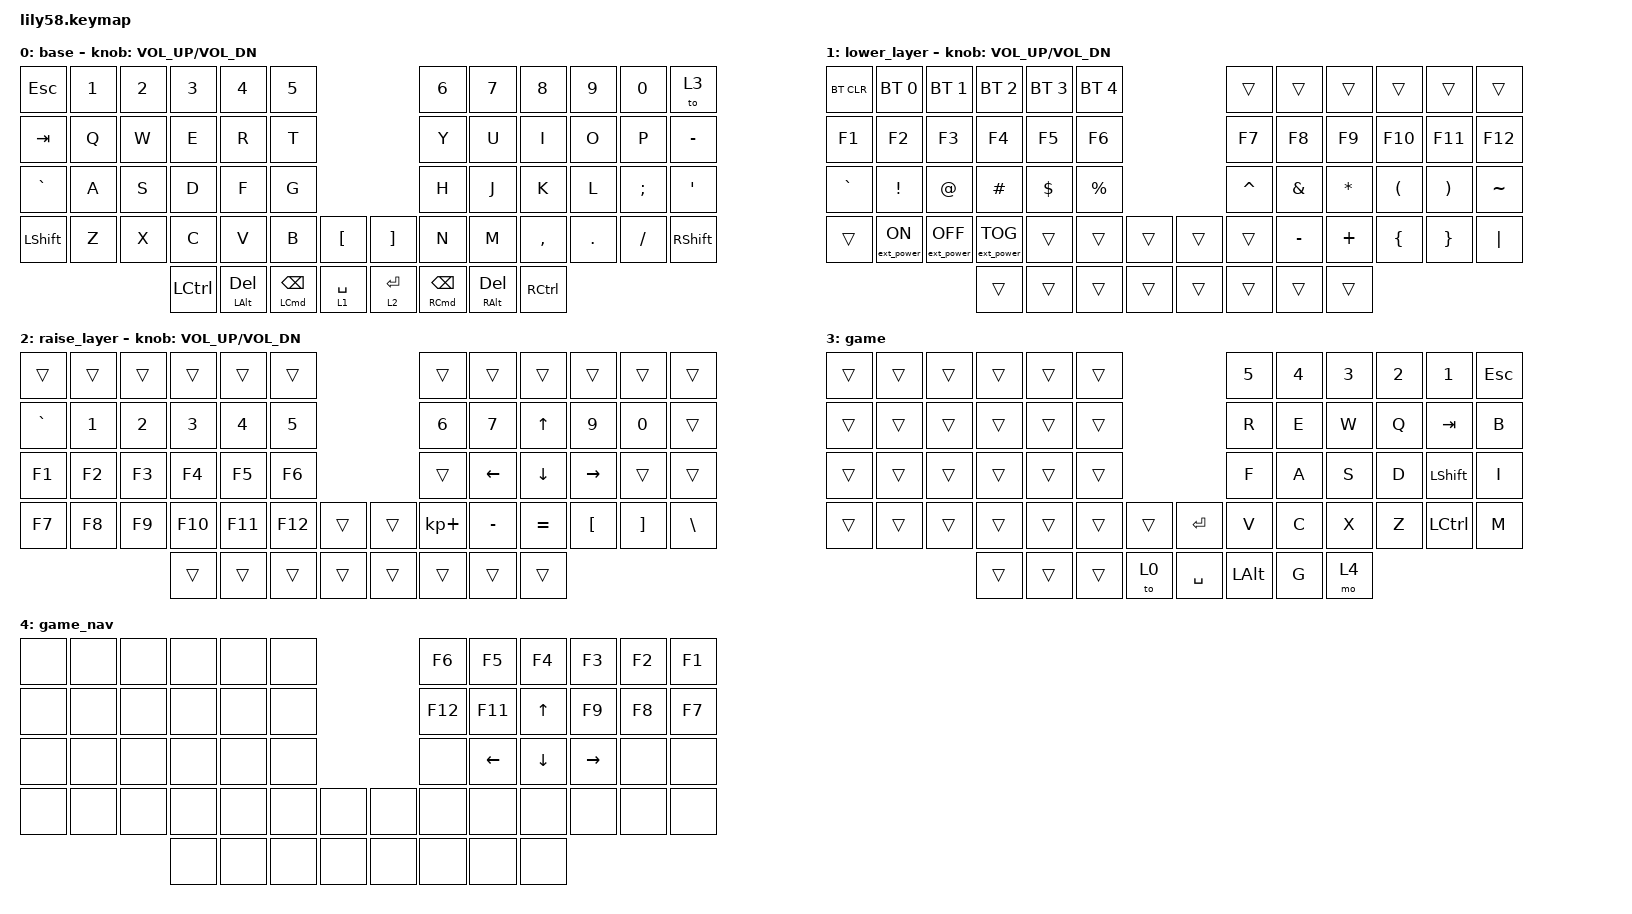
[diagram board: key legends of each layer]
/*
 * Copyright (c) 2020 The ZMK Contributors
 *
 * SPDX-License-Identifier: MIT
 */

#include <behaviors.dtsi>
#include <dt-bindings/zmk/bt.h>
#include <dt-bindings/zmk/ext_power.h>
#include <dt-bindings/zmk/keys.h>

/ {
    combos {
        compatible = "zmk,combos";

        combo_esc {
            timeout-ms = <50>;
            key-positions = <0 1>;
            bindings = <&kp ESC>;
        };
    };

    behaviors {
        ss_hs_modmorph: ss_hs_modmorph {
            compatible = "zmk,behavior-mod-morph";
            label = "SS_HS_MODMORPH";
            bindings = <&kp M>, <&kp RIGHT_BRACKET>;

            #binding-cells = <0>;
            mods = <(MOD_LSFT|MOD_RSFT)>;
        };

        kh_hs_tapdance: kh_hs_tapdance {
            compatible = "zmk,behavior-tap-dance";
            label = "KH_HS_TAPDANCE";
            #binding-cells = <0>;
            tapping-term-ms = <200>;
            bindings = <&kp LEFT_BRACKET>, <&kp RIGHT_BRACKET>;
        };

        hrm: hrm {
            compatible = "zmk,behavior-hold-tap";
            #binding-cells = <2>;
            flavor = "tap-preferred";
            tapping-term-ms = <200>;
            quick-tap-ms = <200>;
            require-prior-idle-ms = <125>;
            bindings = <&kp>, <&kp>;
        };
    };

    keymap {
        compatible = "zmk,keymap";

        base {
            // ------------------------------------------------------------------------------------------------------------
            // |  ESC  |  1  |  2  |  3   |  4   |  5   |                   |  6   |  7    |  8    |  9   |   0   |   `   |
            // |  TAB  |  Q  |  W  |  E   |  R   |  T   |                   |  Y   |  U    |  I    |  O   |   P   |   -   |
            // |  CTRL |  A  |  S  |  D   |  F   |  G   |                   |  H   |  J    |  K    |  L   |   ;   |   '   |
            // | SHIFT |  Z  |  X  |  C   |  V   |  B   |   "["  |  |  "]"  |  N   |  M    |  ,    |  .   |   /   | SHIFT |
            //                     | ALT  | GUI  | LOWER|  SPACE |  | ENTER | RAISE| BSPC  | GUI   |

            bindings = <
&kp ESC    &kp N1  &kp N2  &kp N3            &kp N4               &kp N5                                                  &kp N6                       &kp N7                &kp N8             &kp N9   &kp N0    &to 3
&kp TAB    &kp Q   &kp W   &kp E             &kp R                &kp T                                                   &kp Y                        &kp U                 &kp I              &kp O    &kp P     &kp MINUS
&kp GRAVE  &kp A   &kp S   &kp D             &kp F                &kp G                                                   &kp H                        &kp J                 &kp K              &kp L    &kp SEMI  &kp SQT
&kp LSHFT  &kp Z   &kp X   &kp C             &kp V                &kp B                       &kp LBKT       &kp RBKT     &kp N                        &kp M                 &kp COMMA          &kp DOT  &kp FSLH  &kp RIGHT_SHIFT
                           &kp LEFT_CONTROL  &mt LEFT_ALT DELETE  &mt LEFT_COMMAND BACKSPACE  &lt 1 SPACE    &lt 2 ENTER  &mt RIGHT_COMMAND BACKSPACE  &mt RIGHT_ALT DELETE  &kp RIGHT_CONTROL
            >;

            sensor-bindings = <&inc_dec_kp C_VOL_UP C_VOL_DN>;
        };

        lower_layer {
            // ------------------------------------------------------------------------------------------------------------
            // | BTCLR | BT1 | BT2 |  BT3 |  BT4 |  BT5 |                   |      |       |       |      |       |       |
            // |  F1   |  F2 |  F3 |  F4  |  F5  |  F6  |                   |  F7  |  F8   |  F9   |  F10 |  F11  |  F12  |
            // |   `   |  !  |  @  |  #   |  $   |  %   |                   |  ^   |  &    |  *    |  (   |   )   |   ~   |
            // |       |     |     |      |      |      |        |  |       |      |  _    |  +    |  {   |   }   |  "|"  |
            //                     |      |      |      |        |  |       |      |       |       |

            bindings = <
&bt BT_CLR  &bt BT_SEL 0      &bt BT_SEL 1       &bt BT_SEL 2       &bt BT_SEL 3  &bt BT_SEL 4                    &trans     &trans     &trans     &trans    &trans    &trans
&kp F1      &kp F2            &kp F3             &kp F4             &kp F5        &kp F6                          &kp F7     &kp F8     &kp F9     &kp F10   &kp F11   &kp F12
&kp GRAVE   &kp EXCL          &kp AT             &kp HASH           &kp DOLLAR    &kp PRCNT                       &kp CARET  &kp AMPS   &kp ASTRK  &kp LPAR  &kp RPAR  &kp TILDE
&trans      &ext_power EP_ON  &ext_power EP_OFF  &ext_power EP_TOG  &trans        &trans        &trans    &trans  &trans     &kp MINUS  &kp PLUS   &kp LBRC  &kp RBRC  &kp PIPE
                                                 &trans             &trans        &trans        &trans    &trans  &trans     &trans     &trans
            >;

            sensor-bindings = <&inc_dec_kp C_VOL_UP C_VOL_DN>;
        };

        raise_layer {
            // ------------------------------------------------------------------------------------------------------------
            // |       |     |     |      |      |      |                   |      |       |       |      |       |       |
            // |   `   |  1  |  2  |  3   |  4   |  5   |                   |  6   |   7   |   8   |  9   |   0   |       |
            // |   F1  |  F2 |  F3 |  F4  |  F5  |  F6  |                   |      |   <-  |   v   |  ^   |  ->   |       |
            // |   F7  |  F8 |  F9 |  F10 |  F11 |  F12 |        |  |       |  +   |   -   |   =   |  [   |   ]   |   \   |
            //                     |      |      |      |        |  |       |      |       |       |

            bindings = <
&trans     &trans  &trans  &trans   &trans   &trans                     &trans       &trans     &trans        &trans     &trans    &trans
&kp GRAVE  &kp N1  &kp N2  &kp N3   &kp N4   &kp N5                     &kp N6       &kp N7     &kp UP_ARROW  &kp N9     &kp N0    &trans
&kp F1     &kp F2  &kp F3  &kp F4   &kp F5   &kp F6                     &trans       &kp LEFT   &kp DOWN      &kp RIGHT  &trans    &trans
&kp F7     &kp F8  &kp F9  &kp F10  &kp F11  &kp F12  &trans    &trans  &kp KP_PLUS  &kp MINUS  &kp EQUAL     &kp LBKT   &kp RBKT  &kp BSLH
                           &trans   &trans   &trans   &trans    &trans  &trans       &trans     &trans
            >;

            sensor-bindings = <&inc_dec_kp C_VOL_UP C_VOL_DN>;
        };

        game {
            bindings = <
&trans  &trans  &trans  &trans  &trans  &trans                       &kp NUMBER_5  &kp NUMBER_4  &kp NUMBER_3  &kp NUMBER_2  &kp NUMBER_1  &kp ESC
&trans  &trans  &trans  &trans  &trans  &trans                       &kp R         &kp E         &kp W         &kp Q         &kp TAB       &kp B
&trans  &trans  &trans  &trans  &trans  &trans                       &kp F         &kp A         &kp S         &kp D         &kp LSHFT     &kp I
&trans  &trans  &trans  &trans  &trans  &trans  &trans    &kp RET    &kp V         &kp C         &kp X         &kp Z         &kp LCTRL     &kp M
                        &trans  &trans  &trans  &to 0     &kp SPACE  &kp LALT      &kp G         &mo 4
            >;
        };

        game_nav {
            bindings = <
&none  &none  &none  &none  &none  &none                  &kp F6   &kp F5    &kp F4    &kp F3     &kp F2  &kp F1
&none  &none  &none  &none  &none  &none                  &kp F12  &kp F11   &kp UP    &kp F9     &kp F8  &kp F7
&none  &none  &none  &none  &none  &none                  &none    &kp LEFT  &kp DOWN  &kp RIGHT  &none   &none
&none  &none  &none  &none  &none  &none  &none    &none  &none    &none     &none     &none      &none   &none
                     &none  &none  &none  &none    &none  &none    &none     &none
            >;
        };
    };
};
